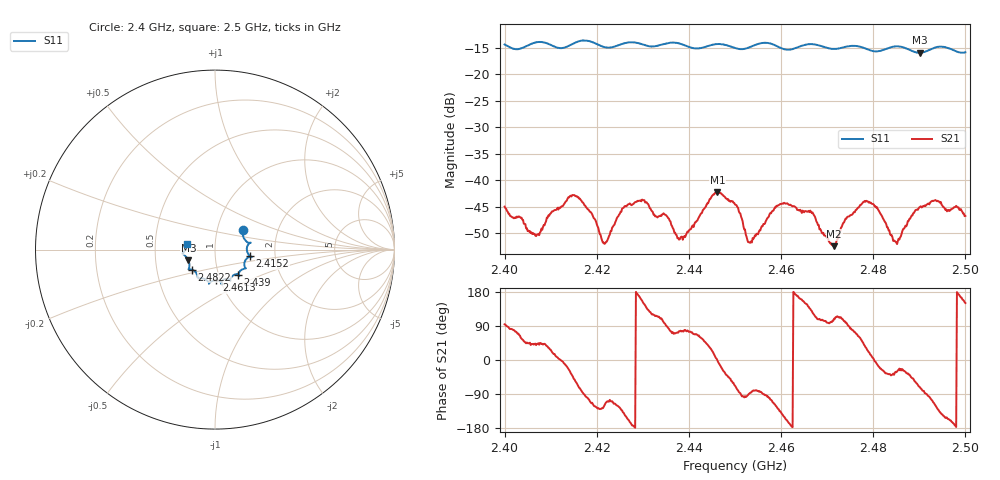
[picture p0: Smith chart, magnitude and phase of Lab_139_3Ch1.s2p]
# Hz S RI R 50
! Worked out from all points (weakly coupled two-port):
!   601 points, 2.4 GHz to 2.5 GHz, reference 50 ohm
!   highest |S21| = -42.24 dB at 2.4462 GHz (marker M1); lowest = -52.5 dB at 2.4715 GHz (marker M2)
!   lowest |S11| = -15.9 dB at 2.4902 GHz (marker M3), VSWR 1.38, Z = 36.9 - j4.59 ohm
!   |S11| at or under -10 dB: start of sweep to end of sweep
!   S12 and S22 are empty: the file has one direction only
!   S11 on the Smith chart (normalised r, x): 2.4 GHz: 1.33, +0.31; 2.4152 GHz: 1.48, -0.11; 2.439 GHz: 1.24, -0.36; 2.4613 GHz: 0.96, -0.34; 2.4822 GHz: 0.76, -0.17; 2.5 GHz: 0.73, +0.05
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2.4e9  0.1564 0.1114  -0.000406 0.0056  0 0  0 0
2.407e9  0.198 0.0379  0.00224 0.00205  0 0  0 0
2.415167e9  0.1946 -0.0363  0.00451 -0.00562  0 0  0 0
2.416667e9  0.2041 -0.0422  0.000963 -0.00631  0 0  0 0
2.421667e9  0.1724 -0.0553  -0.00124 -0.00216  0 0  0 0
2.426667e9  0.171 -0.1033  -0.00528 -0.00244  0 0  0 0
2.430333e9  0.1552 -0.1091  -0.00541 0.00351  0 0  0 0
2.433333e9  0.1329 -0.1322  -0.00182 0.00413  0 0  0 0
2.439e9  0.1282 -0.1387  0.000571 0.00289  0 0  0 0
2.446167e9  0.0857 -0.1737  0.00773 -5.99e-05  0 0  0 0
2.45e9  0.069 -0.1638  0.00222 -0.00544  0 0  0 0
2.453167e9  0.0379 -0.1765  8.12e-05 -0.00256  0 0  0 0
2.461333e9  0.00761 -0.171  -0.00567 -0.00206  0 0  0 0
2.466667e9  -0.0336 -0.1904  -0.00309 0.00377  0 0  0 0
2.4715e9  -0.0598 -0.1632  -0.000775 0.00224  0 0  0 0
2.478e9  -0.0971 -0.1488  0.00475 0.00403  0 0  0 0
2.482167e9  -0.1281 -0.1118  0.00379 -0.00204  0 0  0 0
2.483333e9  -0.1395 -0.1103  0.00265 -0.00204  0 0  0 0
2.485333e9  -0.1476 -0.1103  0.00234 -0.00123  0 0  0 0
2.490167e9  -0.148 -0.0607  0.00169 -0.00532  0 0  0 0
2.493833e9  -0.18 -0.024  -0.00375 -0.00507  0 0  0 0
2.5e9  -0.1584 0.0332  -0.00398 0.00226  0 0  0 0
